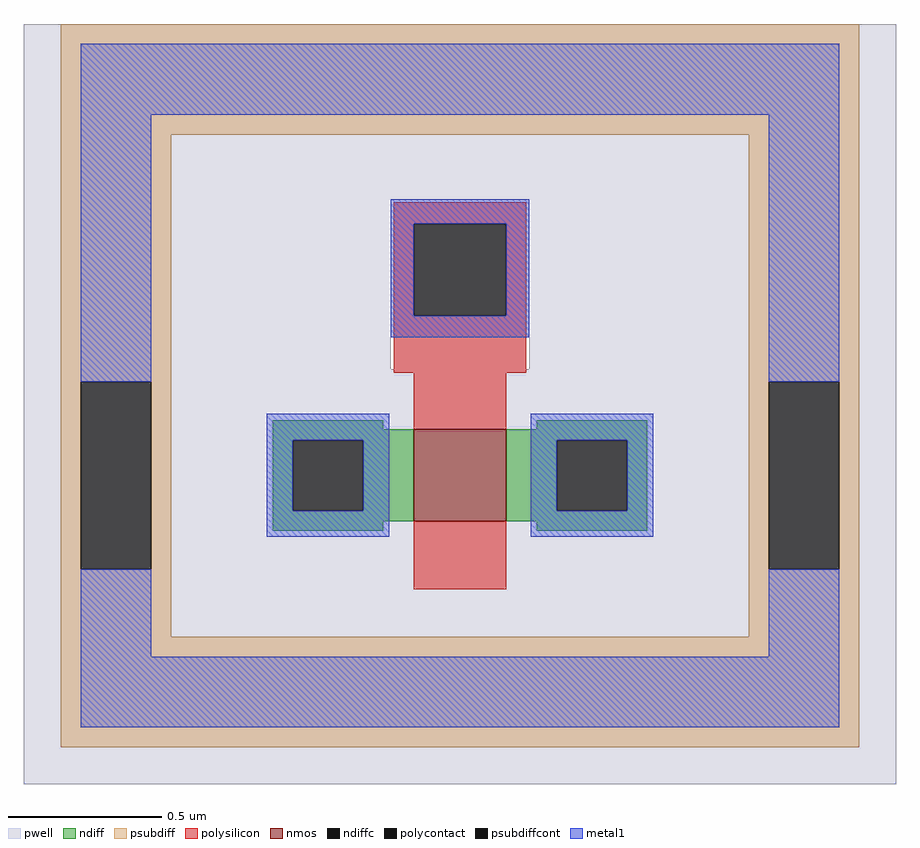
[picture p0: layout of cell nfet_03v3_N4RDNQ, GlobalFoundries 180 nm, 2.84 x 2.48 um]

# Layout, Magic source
magic
tech gf180mcuD
magscale 1 10
<< pwell >>
rect -284 90 284 294
rect -284 69 -45 90
rect -43 69 43 90
rect 45 69 284 90
rect -284 -201 284 69
<< nmos >>
rect -30 -30 30 30
<< ndiff >>
rect -122 30 -50 36
rect 50 30 122 36
rect -122 23 -30 30
rect -122 -23 -109 23
rect -63 -23 -30 23
rect -122 -30 -30 -23
rect 30 23 122 30
rect 30 -23 63 23
rect 109 -23 122 23
rect 30 -30 122 -23
rect -122 -36 -50 -30
rect 50 -36 122 -30
<< ndiffc >>
rect -109 -23 -63 23
rect 63 -23 109 23
<< psubdiff >>
rect -260 222 260 294
rect -260 61 -188 222
rect -260 -61 -247 61
rect -201 -61 -188 61
rect 188 61 260 222
rect -260 -105 -188 -61
rect 188 -61 201 61
rect 247 -61 260 61
rect 188 -105 260 -61
rect -260 -177 260 -105
<< psubdiffcont >>
rect -247 -61 -201 61
rect 201 -61 247 61
<< polysilicon >>
rect -43 164 43 178
rect -43 104 -30 164
rect 30 104 43 164
rect -43 67 43 104
rect -30 30 30 67
rect -30 -74 30 -30
<< polycontact >>
rect -30 104 30 164
<< metal1 >>
rect -247 235 247 281
rect -247 61 -201 235
rect -45 164 45 180
rect -45 104 -30 164
rect 30 104 45 164
rect -45 90 45 104
rect 201 61 247 235
rect -126 23 -46 40
rect -126 -23 -109 23
rect -63 -23 -46 23
rect -126 -40 -46 -23
rect 46 23 126 40
rect 46 -23 63 23
rect 109 -23 126 23
rect 46 -40 126 -23
rect -247 -118 -201 -61
rect 201 -118 247 -61
rect -247 -164 247 -118
<< properties >>
string FIXED_BBOX -224 -141 224 141
string gencell nfet_03v3
string library gf180mcu
string parameters w 0.3 l 0.3 m 1 nf 1 diffcov 100 polycov 100 guard 1 glc 1 grc 1 gtc 0 gbc 0 tbcov 100 rlcov 100 topc 0 botc 0 poverlap 0 doverlap 1 lmin 0.28 wmin 0.22 class mosfet full_metal 1 compatible {nfet_03v3 nfet_05v0 nfet_06v0 nfet_06v0_nvt}
<< end >>
